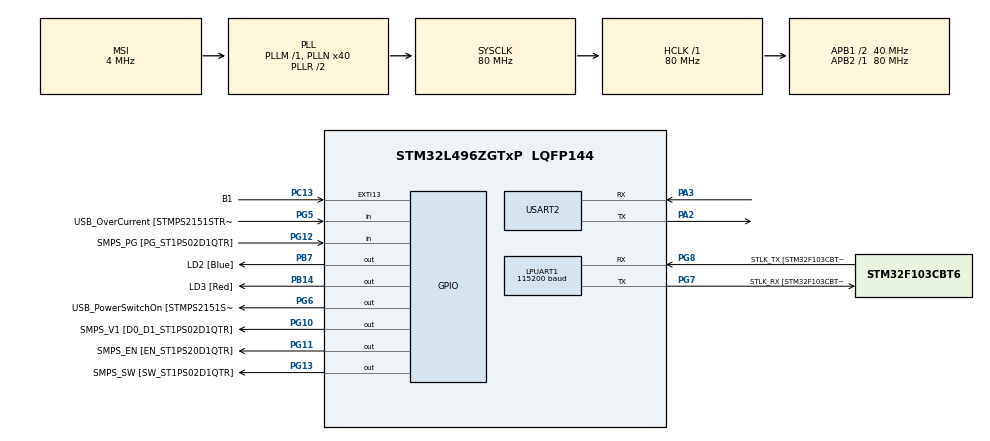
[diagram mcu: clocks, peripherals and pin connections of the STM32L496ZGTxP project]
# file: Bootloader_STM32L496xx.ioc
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CRC.InputDataFormat=CRC_INPUTDATA_FORMAT_WORDS
LPUART1.BaudRate=115200
LPUART1.WordLength=UART_WORDLENGTH_8B
Mcu.Family=STM32L4
Mcu.Name=STM32L496ZGTxP
Mcu.Package=LQFP144
NVIC.PriorityGroup=NVIC_PRIORITYGROUP_4
PA10.GPIO_Label=USB_ID
PA10.Signal=USB_OTG_FS_ID
PA11.GPIO_Label=USB_DM
PA11.Signal=USB_OTG_FS_DM
PA12.GPIO_Label=USB_DP
PA12.Signal=USB_OTG_FS_DP
PA13\ (JTMS/SWDIO).GPIO_Label=TMS
PA13\ (JTMS/SWDIO).Mode=Trace_Asynchronous_SW
PA13\ (JTMS/SWDIO).Signal=SYS_JTMS-SWDIO
PA14\ (JTCK/SWCLK).GPIO_Label=TCK
PA14\ (JTCK/SWCLK).Mode=Trace_Asynchronous_SW
PA14\ (JTCK/SWCLK).Signal=SYS_JTCK-SWCLK
PA2.Mode=Asynchronous
PA2.Signal=USART2_TX
PA3.Mode=Asynchronous
PA3.Signal=USART2_RX
PA8.GPIO_Label=USB_SOF [TP1]
PA8.Signal=USB_OTG_FS_SOF
PA9.GPIO_Label=USB_VBUS
PA9.Signal=USB_OTG_FS_VBUS
PB14.GPIO_Label=LD3 [Red]
PB14.Signal=GPIO_Output
PB3\ (JTDO/TRACESWO).GPIO_Label=SWO
PB3\ (JTDO/TRACESWO).Mode=Trace_Asynchronous_SW
PB3\ (JTDO/TRACESWO).Signal=SYS_JTDO-SWO
PB7.GPIO_Label=LD2 [Blue]
PB7.Signal=GPIO_Output
PC13.GPIO_Label=B1
PC13.Signal=GPXTI13
PC14-OSC32_IN\ (PC14).Signal=RCC_OSC32_IN
PC15-OSC32_OUT\ (PC15).Signal=RCC_OSC32_OUT
PG10.GPIO_Label=SMPS_V1 [D0_D1_ST1PS02D1QTR]
PG10.Signal=GPIO_Output
PG11.GPIO_Label=SMPS_EN [EN_ST1PS20D1QTR]
PG11.Signal=GPIO_Output
PG12.GPIO_Label=SMPS_PG [PG_ST1PS02D1QTR]
PG12.Signal=GPIO_Input
PG13.GPIO_Label=SMPS_SW [SW_ST1PS02D1QTR]
PG13.Signal=GPIO_Output
PG5.GPIO_Label=USB_OverCurrent [STMPS2151STR_FAULT]
PG5.Signal=GPIO_Input
PG6.GPIO_Label=USB_PowerSwitchOn [STMPS2151STR_EN]
PG6.Signal=GPIO_Output
PG7.GPIO_Label=STLK_RX [STM32F103CBT6_PA3]
PG7.Mode=Asynchronous
PG7.Signal=LPUART1_TX
PG8.GPIO_Label=STLK_TX [STM32F103CBT6_PA2]
PG8.Mode=Asynchronous
PG8.Signal=LPUART1_RX
PH0-OSC_IN\ (PH0).GPIO_Label=MCO
PH0-OSC_IN\ (PH0).Signal=RCC_OSC_IN
PH1-OSC_OUT\ (PH1).Signal=RCC_OSC_OUT
ProjectManager.HeapSize=0x200
ProjectManager.StackSize=0x400
ProjectManager.TargetToolchain=STM32CubeIDE
RCC.48MHZClocksFreq_Value=24000000
RCC.AHBFreq_Value=80000000
RCC.APB1CLKDivider=RCC_HCLK_DIV2
RCC.APB1Freq_Value=40000000
RCC.APB1TimFreq_Value=80000000
RCC.APB2Freq_Value=80000000
RCC.APB2TimFreq_Value=80000000
RCC.CortexFreq_Value=80000000
RCC.HCLKFreq_Value=80000000
RCC.HSE_VALUE=8000000
RCC.HSI48_VALUE=48000000
RCC.HSI_VALUE=16000000
RCC.LSE_VALUE=32768
RCC.MSI_VALUE=4000000
RCC.PLLMUL=RCC_PLL_MUL9
RCC.PLLN=40
RCC.PRESCALERUSB=RCC_USBCLKSOURCE_PLL_DIV1_5
RCC.SYSCLKFreq_VALUE=80000000
RCC.SYSCLKSource=RCC_SYSCLKSOURCE_PLLCLK
RCC.SYSCLKSourceVirtual=RCC_SYSCLKSOURCE_PLLCLK
RCC.USBFreq_Value=16000000
RCC.VCOOutputFreq_Value=160000000
USART2.VirtualMode-Asynchronous=VM_ASYNC
VP_CRC_VS_CRC.Mode=CRC_Activate
board=NUCLEO-L496ZG-P

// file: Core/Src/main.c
/* USER CODE BEGIN Header */
/**
  ******************************************************************************
  * @file           : main.c
  * @brief          : Main program body
  ******************************************************************************
  * @attention
  *
  * Copyright (c) 2025 STMicroelectronics.
  * All rights reserved.
  *
  * This software is licensed under terms that can be found in the LICENSE file
  * in the root directory of this software component.
  * If no LICENSE file comes with this software, it is provided AS-IS.
  *
  ******************************************************************************
  */
/* USER CODE END Header */
#include "main.h"

/* USER CODE BEGIN PD */
#define BL_DEBUG_MSG_EN 1
#define D_UART &hlpuart1 /* Debug UART*/
#define C_UART &huart2 /* Virtual Communication UART - For BL Commands (C)*/

#define FLASH_APP_CODE_BASEADDR 0x8008000 /* Location of user code in FLASH */

#define BL_RX_LEN 200

/* USER CODE END PD */

CRC_HandleTypeDef hcrc;

UART_HandleTypeDef hlpuart1;
UART_HandleTypeDef huart2;

/* USER CODE BEGIN PV */
uint8_t bl_rx_buffer[BL_RX_LEN];

uint8_t supported_commands[] = {
                                 BL_GET_VER ,
                                 BL_GET_HELP,
                                 BL_GET_CID,
                                 BL_GET_RDP_STATUS,
                                 BL_GO_TO_ADDR,
                                 BL_FLASH_ERASE,
                                 BL_MEM_WRITE,
                                 BL_READ_SECTOR_P_STATUS } ;

/* USER CODE END PV */

void SystemClock_Config(void);
static void MX_GPIO_Init(void);
static void MX_USART2_UART_Init(void);
static void MX_CRC_Init(void);
static void MX_LPUART1_UART_Init(void);
/* USER CODE BEGIN PFP */

/* Custom function to print formatted string*/

/* USER CODE END PFP */

int main(void)
{

  /* MCU Configuration--------------------------------------------------------*/

  /* Reset of all peripherals, Initializes the Flash interface and the Systick. */
  HAL_Init();

  /* Configure the system clock */
  SystemClock_Config();

  /* Initialize all configured peripherals */
  MX_GPIO_Init();
  MX_USART2_UART_Init();
  MX_CRC_Init();
  MX_LPUART1_UART_Init();
  /* USER CODE BEGIN 2 */

    /* Check whether button is pressed or not, if not pressed jump to user application */
  if ( HAL_GPIO_ReadPin(B1_GPIO_Port,B1_Pin) == GPIO_PIN_SET ) { /*On Nucleo-boards pressing implies making it low*/
	  printmsg("BL_DEBUG_MSG:Button is pressed.. going to BL mode\n\r");

	  //we should continue in boot loader mode
	  bootloader_uart_read_data();
  } else {
	  printmsg("BL_DEBUG_MSG:Button is not pressed.. executing user application\n\r");

	  //jump to user application
	  bootloader_jump_to_user_app();

  }

  /* USER CODE END 2 */

  /* Infinite loop */
  while (1)
  {

  }
}

void SystemClock_Config(void)
{
  RCC_OscInitTypeDef RCC_OscInitStruct = {0};
  RCC_ClkInitTypeDef RCC_ClkInitStruct = {0};

  /** Configure the main internal regulator output voltage
  */
  if (HAL_PWREx_ControlVoltageScaling(PWR_REGULATOR_VOLTAGE_SCALE1) != HAL_OK)
  {
    Error_Handler();
  }

  /** Initializes the RCC Oscillators according to the specified parameters
  * in the RCC_OscInitTypeDef structure.
  */
  RCC_OscInitStruct.OscillatorType = RCC_OSCILLATORTYPE_MSI;
  RCC_OscInitStruct.MSIState = RCC_MSI_ON;
  RCC_OscInitStruct.MSICalibrationValue = 0;
  RCC_OscInitStruct.MSIClockRange = RCC_MSIRANGE_6;
  RCC_OscInitStruct.PLL.PLLState = RCC_PLL_ON;
  RCC_OscInitStruct.PLL.PLLSource = RCC_PLLSOURCE_MSI;
  RCC_OscInitStruct.PLL.PLLM = 1;
  RCC_OscInitStruct.PLL.PLLN = 40;
  RCC_OscInitStruct.PLL.PLLP = RCC_PLLP_DIV2;
  RCC_OscInitStruct.PLL.PLLQ = RCC_PLLQ_DIV2;
  RCC_OscInitStruct.PLL.PLLR = RCC_PLLR_DIV2;
  if (HAL_RCC_OscConfig(&RCC_OscInitStruct) != HAL_OK)
  {
    Error_Handler();
  }

  /** Initializes the CPU, AHB and APB buses clocks
  */
  RCC_ClkInitStruct.ClockType = RCC_CLOCKTYPE_HCLK|RCC_CLOCKTYPE_SYSCLK
                              |RCC_CLOCKTYPE_PCLK1|RCC_CLOCKTYPE_PCLK2;
  RCC_ClkInitStruct.SYSCLKSource = RCC_SYSCLKSOURCE_PLLCLK;
  RCC_ClkInitStruct.AHBCLKDivider = RCC_SYSCLK_DIV1;
  RCC_ClkInitStruct.APB1CLKDivider = RCC_HCLK_DIV2;
  RCC_ClkInitStruct.APB2CLKDivider = RCC_HCLK_DIV1;

  if (HAL_RCC_ClockConfig(&RCC_ClkInitStruct, FLASH_LATENCY_4) != HAL_OK)
  {
    Error_Handler();
  }
}

static void MX_CRC_Init(void)
{

  hcrc.Instance = CRC;
  hcrc.Init.DefaultPolynomialUse = DEFAULT_POLYNOMIAL_ENABLE;
  hcrc.Init.DefaultInitValueUse = DEFAULT_INIT_VALUE_ENABLE;
  hcrc.Init.InputDataInversionMode = CRC_INPUTDATA_INVERSION_NONE;
  hcrc.Init.OutputDataInversionMode = CRC_OUTPUTDATA_INVERSION_DISABLE;
  hcrc.InputDataFormat = CRC_INPUTDATA_FORMAT_WORDS;
  if (HAL_CRC_Init(&hcrc) != HAL_OK)
  {
    Error_Handler();
  }

}

static void MX_LPUART1_UART_Init(void)
{

  hlpuart1.Instance = LPUART1;
  hlpuart1.Init.BaudRate = 115200;
  hlpuart1.Init.WordLength = UART_WORDLENGTH_8B;
  hlpuart1.Init.StopBits = UART_STOPBITS_1;
  hlpuart1.Init.Parity = UART_PARITY_NONE;
  hlpuart1.Init.Mode = UART_MODE_TX_RX;
  hlpuart1.Init.HwFlowCtl = UART_HWCONTROL_NONE;
  hlpuart1.Init.OneBitSampling = UART_ONE_BIT_SAMPLE_DISABLE;
  hlpuart1.AdvancedInit.AdvFeatureInit = UART_ADVFEATURE_NO_INIT;
  if (HAL_UART_Init(&hlpuart1) != HAL_OK)
  {
    Error_Handler();
  }

}

static void MX_USART2_UART_Init(void)
{

  huart2.Instance = USART2;
  huart2.Init.BaudRate = 115200;
  huart2.Init.WordLength = UART_WORDLENGTH_8B;
  huart2.Init.StopBits = UART_STOPBITS_1;
  huart2.Init.Parity = UART_PARITY_NONE;
  huart2.Init.Mode = UART_MODE_TX_RX;
  huart2.Init.HwFlowCtl = UART_HWCONTROL_NONE;
  huart2.Init.OverSampling = UART_OVERSAMPLING_16;
  huart2.Init.OneBitSampling = UART_ONE_BIT_SAMPLE_DISABLE;
  huart2.AdvancedInit.AdvFeatureInit = UART_ADVFEATURE_NO_INIT;
  if (HAL_UART_Init(&huart2) != HAL_OK)
  {
    Error_Handler();
  }

}

static void MX_GPIO_Init(void)
{
  GPIO_InitTypeDef GPIO_InitStruct = {0};

  /* GPIO Ports Clock Enable */
  __HAL_RCC_GPIOC_CLK_ENABLE();
  __HAL_RCC_GPIOH_CLK_ENABLE();
  __HAL_RCC_GPIOA_CLK_ENABLE();
  __HAL_RCC_GPIOB_CLK_ENABLE();
  __HAL_RCC_GPIOG_CLK_ENABLE();
  HAL_PWREx_EnableVddIO2();

  /*Configure GPIO pin Output Level */
  HAL_GPIO_WritePin(GPIOB, LD3_Pin|LD2_Pin, GPIO_PIN_RESET);

  /*Configure GPIO pin Output Level */
  HAL_GPIO_WritePin(GPIOG, USB_PowerSwitchOn_Pin|SMPS_V1_Pin|SMPS_EN_Pin|SMPS_SW_Pin, GPIO_PIN_RESET);

  /*Configure GPIO pin : B1_Pin */
  GPIO_InitStruct.Pin = B1_Pin;
  GPIO_InitStruct.Mode = GPIO_MODE_IT_RISING;
  GPIO_InitStruct.Pull = GPIO_NOPULL;
  HAL_GPIO_Init(B1_GPIO_Port, &GPIO_InitStruct);

  /*Configure GPIO pins : LD3_Pin LD2_Pin */
  GPIO_InitStruct.Pin = LD3_Pin|LD2_Pin;
  GPIO_InitStruct.Mode = GPIO_MODE_OUTPUT_PP;
  GPIO_InitStruct.Pull = GPIO_NOPULL;
  GPIO_InitStruct.Speed = GPIO_SPEED_FREQ_LOW;
  HAL_GPIO_Init(GPIOB, &GPIO_InitStruct);

  /*Configure GPIO pins : USB_OverCurrent_Pin SMPS_PG_Pin */
  GPIO_InitStruct.Pin = USB_OverCurrent_Pin|SMPS_PG_Pin;
  GPIO_InitStruct.Mode = GPIO_MODE_INPUT;
  GPIO_InitStruct.Pull = GPIO_NOPULL;
  HAL_GPIO_Init(GPIOG, &GPIO_InitStruct);

  /*Configure GPIO pins : USB_PowerSwitchOn_Pin SMPS_V1_Pin SMPS_EN_Pin SMPS_SW_Pin */
  GPIO_InitStruct.Pin = USB_PowerSwitchOn_Pin|SMPS_V1_Pin|SMPS_EN_Pin|SMPS_SW_Pin;
  GPIO_InitStruct.Mode = GPIO_MODE_OUTPUT_PP;
  GPIO_InitStruct.Pull = GPIO_NOPULL;
  GPIO_InitStruct.Speed = GPIO_SPEED_FREQ_LOW;
  HAL_GPIO_Init(GPIOG, &GPIO_InitStruct);

  /*Configure GPIO pins : USB_SOF_Pin USB_ID_Pin USB_DM_Pin USB_DP_Pin */
  GPIO_InitStruct.Pin = USB_SOF_Pin|USB_ID_Pin|USB_DM_Pin|USB_DP_Pin;
  GPIO_InitStruct.Mode = GPIO_MODE_AF_PP;
  GPIO_InitStruct.Pull = GPIO_NOPULL;
  GPIO_InitStruct.Speed = GPIO_SPEED_FREQ_VERY_HIGH;
  GPIO_InitStruct.Alternate = GPIO_AF10_OTG_FS;
  HAL_GPIO_Init(GPIOA, &GPIO_InitStruct);

}

/* USER CODE BEGIN 4 */

/*Prints formatted string to console over UART
 * HAL_UART_Transmit() only sends raw bytes
 * If we want to print variables (integers, floats, hex values, etc.), we need to format them */
void printmsg(char *format,...)
{
#ifdef BL_DEBUG_MSG_EN
	char str[80];

	/*Extract the argument list using C VA APIs*/
	va_list args;
	va_start(args, format);
	vsprintf(str, format, args);
	HAL_UART_Transmit(D_UART, (uint8_t*)str, strlen(str), HAL_MAX_DELAY);
	va_end(args);
#endif
}

void bootloader_jump_to_user_app(void)
{
	/* Flow of the function:
	 * 1. Reads the applications’s initial MSP and sets it.
	 * 2. Redirects interrupts by re-mapping VTOR.
	 * 3. Fetches the application’s Reset_Handler address.
	 * 4. Calls it, effectively jumping to the user application.
	 */

	// A 'function pointer' to hold the address of the reset handler of the user application
	void (*app_reset_handler) (void); /*Used in Step 2 */

	printmsg("BL_DEBUG_MSG:bootloader_jump_to_user_app\n");

	/*The first byte at address of the FLASH area holds the value of MSP and next byte holds the Reset Handler
	 * according to ARM-Cortex Architecture */

	/*1. Configure the Main Stack Pointer (MSP) by reading the value form the flash base address of desired sector*/
	uint32_t msp_value = *(volatile uint32_t*)FLASH_APP_CODE_BASEADDR;

	/* Set MSP function form CMSIS*/
	__set_MSP(msp_value);

	/* Re-map vector table to user application base address */
	SCB->VTOR = FLASH_APP_CODE_BASEADDR; /* System Control Block - Vector Table Offset Register */

	/* 2. Now fetch the reset handler address of the user application
	 * from the location FLASH_SECTOR2_BASE_ADDRESS + 4*/

	uint32_t resethandler_address = *(volatile uint32_t *) (FLASH_APP_CODE_BASEADDR + 4);

	app_reset_handler = (void*) resethandler_address; /*Initializing function pointer with reset handler*/

	printmsg("BL_DEBUG_MSG: Application reset handler address : %#x\n",app_reset_handler);

	/*3. Jumping to the reset handler of user application - Now this address will be loaded into the Program Counter*/
	app_reset_handler();

}

void bootloader_uart_read_data(void)
{
	/*First read only one byte, which is the length. Then read the other bytes from UART */

	uint8_t rcv_len=0;

	while(1)
	{
		memset(bl_rx_buffer, 0, 200); //??

		HAL_UART_Receive(C_UART, (uint8_t*)&bl_rx_buffer, 1, HAL_MAX_DELAY);
		rcv_len = bl_rx_buffer[0];
		HAL_UART_Receive(C_UART, &bl_rx_buffer[1], rcv_len, HAL_MAX_DELAY);

		switch(bl_rx_buffer[1]) /* To check for command codes */
		{
		case BL_GET_VER:
			bootloader_handle_getver_cmd(bl_rx_buffer);
			break;
		case BL_GET_HELP:
			bootloader_handle_gethelp_cmd(bl_rx_buffer);
			break;
		case BL_GET_CID:
			bootloader_handle_getcid_cmd(bl_rx_buffer);
			break;
		case BL_GET_RDP_STATUS:
			bootloader_handle_getrdp_cmd(bl_rx_buffer);
			break;
		case BL_GO_TO_ADDR:
			bootloader_handle_go_cmd(bl_rx_buffer);
			break;
		case BL_FLASH_ERASE:
			bootloader_handle_flash_erase_cmd(bl_rx_buffer);
			break;
		case BL_MEM_WRITE:
			bootloader_handle_mem_write_cmd(bl_rx_buffer);
			break;
		case BL_EN_RW_PROTECT:
			bootloader_handle_en_rw_protect(bl_rx_buffer);
			break;
		case BL_MEM_READ:
			//bootloader_handle_mem_read(bl_rx_buffer);
			break;
		case BL_READ_SECTOR_P_STATUS:
			//bootloader_handle_read_sector_protection_status(bl_rx_buffer);
			break;
		case BL_OTP_READ:
			//bootloader_handle_read_otp(bl_rx_buffer);
			break;
		case BL_DIS_R_W_PROTECT:
			//bootloader_handle_dis_rw_protect(bl_rx_buffer);
			break;
		default:
			printmsg("BL_DEBUG_MSG:Invalid command code received from host \n");
			break;

		}
	}
}

/******************* Boot loader handler functions *******************/

void bootloader_handle_getver_cmd(uint8_t *bl_rx_buffer)
{
	uint8_t bl_version;

	/*Total length of command packet*/
	uint32_t command_packet_len = bl_rx_buffer[0] + 1;

	/*Extract the 4 bytes of CRC32 sent by the host*/
	uint32_t host_crc = *((uint32_t*) (bl_rx_buffer + command_packet_len - 4)); /* ?? */

	/*Verify the checksum */
	printmsg("BL_DEBUG_MSG: bootloader_handle_getver_cmd\n");
	if(! bootloader_verify_crc(&bl_rx_buffer[0], command_packet_len - 4, host_crc)) /*Subtract the CRC bytes - ??*/
	{
		/*Checksum is correct*/
		printmsg("BL_DEBUG_MSG: Checksum success...!\n");
		bootloader_send_ack(bl_rx_buffer[0], 1);
		bl_version = get_bootloader_version();
		printmsg("BL_DEBUG_MSG: BL_VER: %d &#x\n", bl_version, bl_version);
		bootloader_uart_write_data(&bl_version, 1); /* Sends data back to the HOST */
	}else{
		printmsg("BL_DEBUG_MSG: Checksum failed...!\n");
		bootloader_send_nack();

	}

}

void bootloader_handle_gethelp_cmd(uint8_t *pBuffer) {

  printmsg("BL_DEBUG_MSG:bootloader_handle_gethelp_cmd\n");

  //Total length of the command packet
  uint32_t command_packet_len = bl_rx_buffer[0]+1 ;

  //extract the CRC32 sent by the Host
  uint32_t host_crc = *((uint32_t * ) (bl_rx_buffer+command_packet_len - 4) ) ;

  if (! bootloader_verify_crc(&bl_rx_buffer[0],command_packet_len-4,host_crc)) {
    printmsg("BL_DEBUG_MSG:checksum success !!\n");
    bootloader_send_ack(pBuffer[0],sizeof(supported_commands));
    bootloader_uart_write_data(supported_commands,sizeof(supported_commands) );

  } else {
    printmsg("BL_DEBUG_MSG:checksum fail !!\n");
    bootloader_send_nack();
  }
}

void bootloader_handle_getcid_cmd(uint8_t *pBuffer)
{

	printmsg("BL_DEBUG_MSG:bootloader_handle_getcid_cmd\n");

	uint16_t bl_cid_num = 0;

	//Total length of the command packet
	uint32_t command_packet_len = bl_rx_buffer[0] + 1 ;

	//extract the CRC32 sent by the Host
	uint32_t host_crc = *((uint32_t * ) (bl_rx_buffer+command_packet_len - 4) ) ;

	if (! bootloader_verify_crc(&bl_rx_buffer[0],command_packet_len-4,host_crc)) {

		printmsg("BL_DEBUG_MSG:checksum success !!\n");
		bootloader_send_ack(pBuffer[0],2);
		bl_cid_num = get_mcu_chip_id();
		printmsg("BL_DEBUG_MSG:MCU id : %d %#x !!\n",bl_cid_num, bl_cid_num);
		bootloader_uart_write_data((uint8_t *)&bl_cid_num,2);

	} else {
		printmsg("BL_DEBUG_MSG:checksum fail !!\n");
		bootloader_send_nack();
	}

}

void bootloader_handle_getrdp_cmd(uint8_t *pBuffer) {
  uint8_t rdp_level = 0x00;
  printmsg("BL_DEBUG_MSG:bootloader_handle_getrdp_cmd\n");

  //Total length of the command packet
  uint32_t command_packet_len = bl_rx_buffer[0]+1 ;

  //extract the CRC32 sent by the Host
  uint32_t host_crc = *((uint32_t * ) (bl_rx_buffer+command_packet_len - 4) ) ;

  if (! bootloader_verify_crc(&bl_rx_buffer[0],command_packet_len-4,host_crc)) {
    printmsg("BL_DEBUG_MSG:checksum success !!\n");
    bootloader_send_ack(pBuffer[0],1);
    rdp_level = get_flash_rdp_level();
    printmsg("BL_DEBUG_MSG:RDP level: %d %#x\n",rdp_level,rdp_level);
    bootloader_uart_write_data(&rdp_level,1);

  } else {
    printmsg("BL_DEBUG_MSG:checksum fail !!\n");
    bootloader_send_nack();
  }
}

void bootloader_handle_go_cmd(uint8_t *pBuffer) {

  uint32_t go_address=0;
  uint8_t addr_valid = ADDR_VALID;
  uint8_t addr_invalid = ADDR_INVALID;

  printmsg("BL_DEBUG_MSG:bootloader_handle_go_cmd\n");

  //Total length of the command packet
  uint32_t command_packet_len = bl_rx_buffer[0]+1 ;

  //extract the CRC32 sent by the Host
  uint32_t host_crc = *((uint32_t * ) (bl_rx_buffer+command_packet_len - 4) ) ;

  if (! bootloader_verify_crc(&bl_rx_buffer[0],command_packet_len-4,host_crc)) {

    printmsg("BL_DEBUG_MSG:checksum success !!\n");

    bootloader_send_ack(pBuffer[0],1);

    //extract the go address
    go_address = *((uint32_t *)&pBuffer[2] ); /*Retrieve 4 bytes of Address Data*/
    printmsg("BL_DEBUG_MSG:GO addr: %#x\n",go_address);

  if( verify_address(go_address) == ADDR_VALID ) {
    //tell host that address is fine
    bootloader_uart_write_data(&addr_valid,1);

    /*jump to "go" address. Boot loader does not know what code is present at that address*/

    /* Not doing the below line will result in hard fault exception for ARM Cortex-M */
    //watch : https://www.youtube.com/watch?v=VX_12SjnNhY

    go_address+=1; //make Thumb bit T =1

    void (*lets_jump)(void) = (void *)go_address;

    printmsg("BL_DEBUG_MSG: jumping to go address! \n");

    lets_jump();

  } else {

    printmsg("BL_DEBUG_MSG:GO addr invalid ! \n");
    //tell host that address is invalid
    bootloader_uart_write_data(&addr_invalid,1);
  }

  } else {
    printmsg("BL_DEBUG_MSG:checksum fail !!\n");
    bootloader_send_nack();

  }

  /*
   * NOTE:
   * While jumping to a user code with the BL_GO_TO_ADDR command, enter the second byte at at the address (which is the reset handler)
   * and do minus 1. This is because the last bit accounts for T bit in ARM processors in Thumb Mode. For example: if address of reset
   * handler found is 0x08008A59, enter 0x08008A58 in the boot loader host application.
   */
}

void bootloader_handle_flash_erase_cmd(uint8_t *pBuffer) {

  uint8_t erase_status = 0x00;
  printmsg("BL_DEBUG_MSG:bootloader_handle_flash_erase_cmd\n");

  //Total length of the command packet
  uint32_t command_packet_len = bl_rx_buffer[0]+1 ;

  //extract the CRC32 sent by the Host
  uint32_t host_crc = *((uint32_t * ) (bl_rx_buffer+command_packet_len - 4) ) ;

  if (! bootloader_verify_crc(&bl_rx_buffer[0],command_packet_len-4,host_crc)) {

    printmsg("BL_DEBUG_MSG:checksum success !!\n");
    bootloader_send_ack(pBuffer[0],1);
    printmsg("BL_DEBUG_MSG:initial_sector : %d  no_ofsectors: %d\n",pBuffer[2],pBuffer[3]);

    HAL_GPIO_WritePin(GPIOB, GPIO_PIN_14,1);
    erase_status = execute_flash_erase(pBuffer[2] , pBuffer[3]);
    HAL_GPIO_WritePin(GPIOB, GPIO_PIN_14,0);

    printmsg("BL_DEBUG_MSG: flash erase status: %#x\n",erase_status);

    bootloader_uart_write_data(&erase_status,1);

  } else {

    printmsg("BL_DEBUG_MSG:checksum fail !!\n");
    bootloader_send_nack();
  }
}

void bootloader_handle_mem_write_cmd(uint8_t *pBuffer) {

  //uint8_t addr_valid = ADDR_VALID;
  uint8_t write_status = 0x00;
  //uint8_t chksum =0, len=0;
  //len = pBuffer[0];
  uint8_t payload_len = pBuffer[6];

  uint32_t mem_address = *((uint32_t *) ( &pBuffer[2]) );

  //chksum = pBuffer[len];

  printmsg("BL_DEBUG_MSG:bootloader_handle_mem_write_cmd\n");

  //Total length of the command packet
  uint32_t command_packet_len = bl_rx_buffer[0] + 1 ;

  //extract the CRC32 sent by the Host
  uint32_t host_crc = *((uint32_t * ) (bl_rx_buffer + command_packet_len - 4) ) ;

  if (! bootloader_verify_crc(&bl_rx_buffer[0],command_packet_len-4,host_crc)) {

    printmsg("BL_DEBUG_MSG:checksum success !!\n");

    bootloader_send_ack(pBuffer[0],1);

    printmsg("BL_DEBUG_MSG: mem write address : %#x\n",mem_address);

  if( verify_address(mem_address) == ADDR_VALID ) {

    printmsg("BL_DEBUG_MSG: valid mem write address\n");

    //glow the led to indicate bootloader is currently writing to memory
    HAL_GPIO_WritePin(GPIOB, GPIO_PIN_14,1);

        //execute mem write
    write_status = execute_mem_write(&pBuffer[7],mem_address, payload_len);

    //turn off the led to indicate memory write is over
    HAL_GPIO_WritePin(GPIOB, GPIO_PIN_14,0);

    //inform host about the status
    bootloader_uart_write_data(&write_status,1);

  } else {

    printmsg("BL_DEBUG_MSG: invalid mem write address\n");
    write_status = ADDR_INVALID;
    //inform host that address is invalid
    bootloader_uart_write_data(&write_status,1);
  }

  } else {
    printmsg("BL_DEBUG_MSG:checksum fail !!\n");
    bootloader_send_nack();
  }
}

void bootloader_send_nack(void)
{
	uint8_t nack = BL_NACK;
	HAL_UART_Transmit(C_UART, (uint8_t*)&nack, 1, HAL_MAX_DELAY);

}

void bootloader_send_ack(uint8_t command_code, uint8_t follow_len)
{
	/* 2 Bytes are sent, first byte is ACK and second is the length value */
	uint8_t ack_buf[2];
	ack_buf[0] = BL_ACK;
	ack_buf[1] = follow_len;
	HAL_UART_Transmit(C_UART, (uint8_t*)&ack_buf, 2, HAL_MAX_DELAY);
}

uint8_t bootloader_verify_crc (uint8_t *pData, uint32_t len,uint32_t crc_host)
{
	uint32_t uwCRCValue = 0xff;

	for(uint32_t i=0; i<len; i++)
	{
		uint32_t i_data = pData[i];
		uwCRCValue = HAL_CRC_Accumulate(&hcrc, &i_data, 1);
	}

	/* Reset CRC Calculation Unit */
	__HAL_CRC_DR_RESET(&hcrc);

	if(uwCRCValue == crc_host)
	{
		return VERIFY_CRC_SUCCESS;
	}
	return VERIFY_CRC_FAIL;
}

uint8_t get_bootloader_version(void)
{
	return (uint8_t)BL_VERSION;
}

void bootloader_uart_write_data(uint8_t *pBuffer,uint32_t len)
{
	HAL_UART_Transmit(C_UART, pBuffer, len, HAL_MAX_DELAY);
}

uint16_t get_mcu_chip_id(void)
{
	/* The STM32L47x/L48x/L49x/L4Ax MCUs integrate an MCU ID code. This ID identifies the
	   ST MCU part-number and the die revision. It is part of the DBG_MCU component and is
	   mapped on the external PPB bus (see Section 48.16 on page 1832). This code is
	   accessible using the JTAG debug port (4 to 5 pins) or the SW debug port (two pins) or by
	   the user software. It is even accessible while the MCU is under system reset.
	 */

	uint16_t cid;
	/* Reading the register and masking the unnecessary bits */
	cid = (uint16_t)(DBGMCU->IDCODE) & 0x0FFF;
	return  cid;

}

uint8_t get_flash_rdp_level(void)
{
	/* !!! VERY IMPORTANT !!!! */
	/*
	 * LEVEL 2 (No debug mode): Option bytes cannot be programmed nor erased. Thus, the level 2 cannot be removed at all:
	 * it is an IRREVERSIBLE operation. 'DO NOT USE' Level 2, it is for end user products.
	 *
	 * When decreased from 'Level 1 to Level 0', the FLASH goes into MASS ERASE.
	 *
	 * */
	/*HAL Implementation*/
#if 0
	FLASH_OBProgramInitTypeDef  ob_handle;
	HAL_FLASHEx_OBGetConfig(&ob_handle);
	rdp_status = (uint8_t)ob_handle.RDPLevel;
#else

	uint8_t rdp_status = 0;

	volatile uint32_t *pOB_addr = (uint32_t*) 0x1FFF7800; /* Address of User and read protection option bytes register*/
	rdp_status = (uint8_t)(*pOB_addr); /*The the first byte from LSB of the register for RDP*/

	return rdp_status;
#endif
}

uint8_t verify_address(uint32_t go_address)
{
	/*Jump to FLASH, System Memory, SRAM1, SRAM2, Backup SRAM allowed,
	 * others such as peripheral memory not allowed*/

	if ( go_address >= SRAM1_BASE && go_address <= SRAM1_END) {

		return ADDR_VALID;
	} else if ( go_address >= SRAM2_BASE && go_address <= SRAM2_END) {

		return ADDR_VALID;
	} else if ( go_address >= FLASH_BASE && go_address <= FLASH_END) {

		return ADDR_VALID;
	}else
	return ADDR_INVALID;
}

uint8_t execute_flash_erase(uint8_t page_number , uint8_t number_of_pages) {

  /*Refer HAL FLASH EX codes for FLASH erase commands*/

  FLASH_EraseInitTypeDef flashErase_handle;
  uint32_t sectorError;
  HAL_StatusTypeDef status;

  if( number_of_pages > 511 )
    return INVALID_SECTOR;

  if( (page_number == 0xff ) || (page_number <= 511) ) {
    if(page_number == (uint8_t) 0xff) {
    flashErase_handle.TypeErase = FLASH_TYPEERASE_MASSERASE;

    } else {
      /*Here we are just calculating how many sectors needs to erased */
      uint8_t remanining_page = 511 - page_number;
      if( number_of_pages > remanining_page) {

    	  number_of_pages = remanining_page;
      }
      flashErase_handle.TypeErase = FLASH_TYPEERASE_PAGES; /*Macro from HAL*/
      flashErase_handle.Page = page_number; // This is the initial page
      flashErase_handle.NbPages = number_of_pages;
    }
    flashErase_handle.Banks = FLASH_BANK_1;

    /*Get access to the flash registers, unlock them first */
    HAL_FLASH_Unlock();
    status = (uint8_t) HAL_FLASHEx_Erase(&flashErase_handle, &sectorError);
    HAL_FLASH_Lock();

    return status;
  }

  return INVALID_SECTOR;
}

uint8_t execute_mem_write(uint8_t *pBuffer, uint32_t mem_address, uint32_t len)
{
	/* Below code is for FLASH_TYPEPROGRAM_DOUBLEWORD logic - host application sends single word */

    HAL_StatusTypeDef status = HAL_OK;

    if ((mem_address & 0x7U) != 0U) return (uint8_t)HAL_ERROR; /* must be 8-byte aligned */
    if (len == 0U) return (uint8_t)HAL_OK;

    HAL_FLASH_Unlock();

    for (uint32_t offset = 0; offset < len; offset += 8U) {
        uint64_t data64 = 0ULL;
        uint32_t chunk = ((len - offset) >= 8U) ? 8U : (len - offset);

        /* pack available bytes (little-endian) */
        for (uint32_t b = 0U; b < chunk; ++b) {
            data64 |= ((uint64_t)pBuffer[offset + b]) << (8U * b);
        }
        /* pad remaining bytes with 0xFF if needed */
        for (uint32_t b = chunk; b < 8U; ++b) {
            data64 |= ((uint64_t)0xFFU) << (8U * b);
        }

        status = HAL_FLASH_Program(FLASH_TYPEPROGRAM_DOUBLEWORD, mem_address + offset, data64);
        if (status != HAL_OK) break;
    }

    HAL_FLASH_Lock();
    return (uint8_t)status; /* 0 = HAL_OK */
}

/* USER CODE END 4 */

void Error_Handler(void)
{
  __disable_irq();
  while (1)
  {
  }
}
